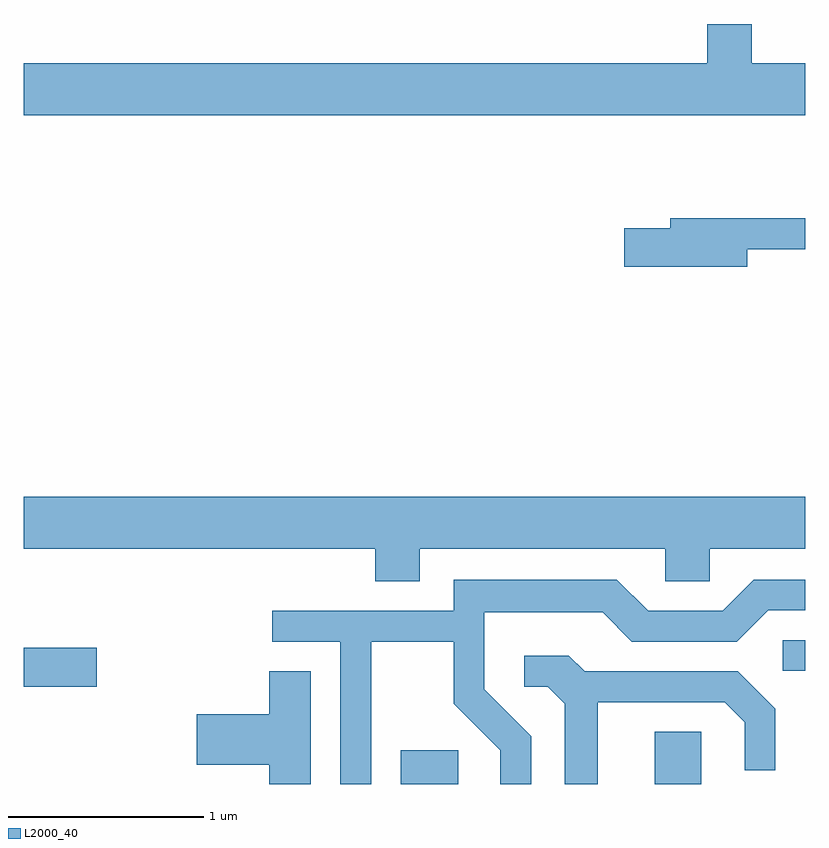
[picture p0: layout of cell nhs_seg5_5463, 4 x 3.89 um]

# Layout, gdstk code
import gdstk
lib = gdstk.Library(unit=1e-6, precision=1e-09)
def R(c, l, rs):  # rectangles x0, y0, x1, y1
    for r in rs: c.add(gdstk.rectangle(r[:2], r[2:], *l))
def P(c, l, *ps):  # polygons
    for p in ps: c.add(gdstk.Polygon(p, *l))
L2000_40 = (2000, 40)

nhs_seg5_5463 = lib.new_cell('nhs_seg5_5463')
R(nhs_seg5_5463, L2000_40, [(349.541,1420.072,349.834,1420.244), (350.841,1420.072,351.079,1420.339), (347.611,1420.571,347.984,1420.769), (351.498,1420.651,351.611,1420.809)])
P(nhs_seg5_5463, L2000_40, [(351.611,1423.764),(351.339,1423.764),(351.339,1423.964),(351.111,1423.964),(351.111,1423.764),(347.611,1423.764),(347.611,1423.496),(351.611,1423.496)],
  [(351.314,1422.811),(351.611,1422.811),(351.611,1422.969),(350.921,1422.969),(350.921,1422.919),(350.686,1422.919),(350.686,1422.721),(351.314,1422.721)],
  [(349.639,1421.276),(350.896,1421.276),(350.896,1421.111),(351.124,1421.111),(351.124,1421.276),(351.611,1421.276),(351.611,1421.544),(347.611,1421.544),(347.611,1421.276),(349.411,1421.276),(349.411,1421.111),(349.639,1421.111)],
  [(349.389,1420.801),(349.811,1420.801),(349.811,1420.484),(350.051,1420.244),(350.051,1420.072),(350.209,1420.072),(350.209,1420.317),(349.969,1420.557),(349.969,1420.951),(350.574,1420.951),(350.724,1420.801),(351.262,1420.801),(351.422,1420.961),(351.611,1420.961),(351.611,1421.119),(351.349,1421.119),(351.189,1420.959),(350.807,1420.959),(350.647,1421.119),(349.811,1421.119),(349.811,1420.959),(348.883,1420.959),(348.883,1420.801),(349.231,1420.801),(349.231,1420.072),(349.389,1420.072)],
  [(350.549,1420.491),(351.199,1420.491),(351.301,1420.389),(351.301,1420.143),(351.459,1420.143),(351.459,1420.457),(351.267,1420.649),(350.482,1420.649),(350.402,1420.729),(350.173,1420.729),(350.173,1420.571),(350.294,1420.571),(350.381,1420.484),(350.381,1420.072),(350.549,1420.072)],
  [(349.079,1420.649),(348.866,1420.649),(348.866,1420.429),(348.496,1420.429),(348.496,1420.171),(348.866,1420.171),(348.866,1420.072),(349.079,1420.072)])

lib.write_gds('nhs_seg5_5463.gds')
